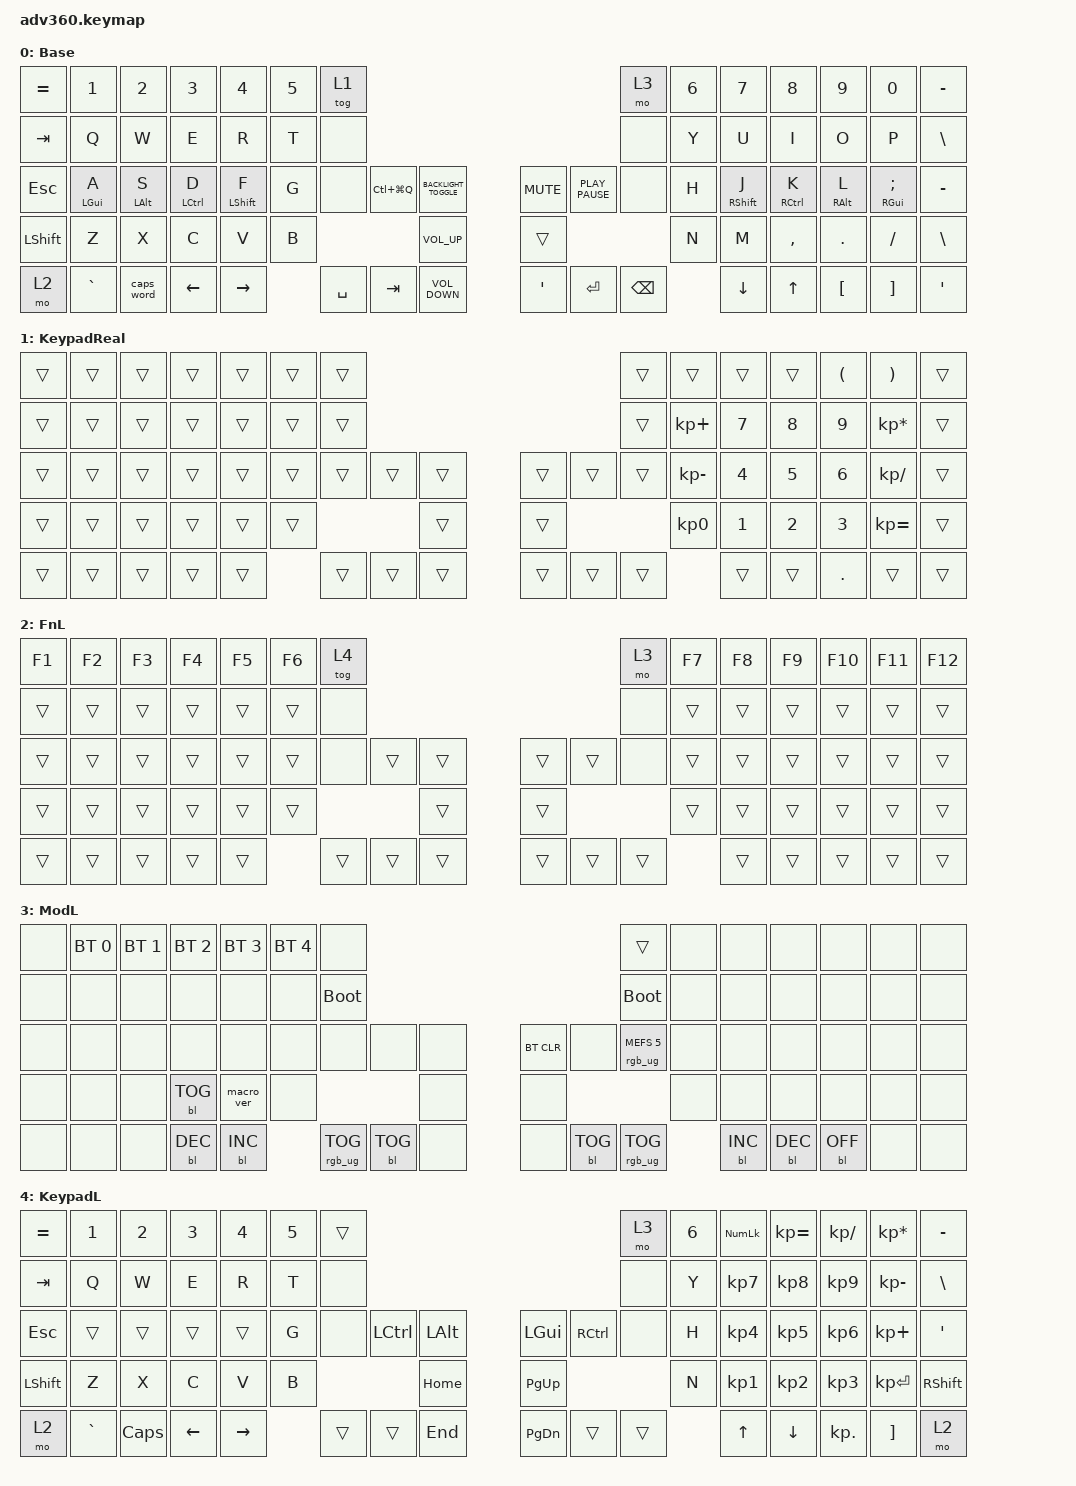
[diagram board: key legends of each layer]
/*
 * Copyright (c) 2020 The ZMK Contributors
 *
 * SPDX-License-Identifier: MIT
 */
/* THIS FILE WAS GENERATED!
 *
 * This file was generated automatically. You may or may not want to
 * edit it directly.
 */

#include <behaviors.dtsi>
#include <dt-bindings/zmk/backlight.h>
#include <dt-bindings/zmk/bt.h>
#include <dt-bindings/zmk/keys.h>
#include <dt-bindings/zmk/rgb.h>

/ {
    behaviors {
        #include "macros.dtsi"
        #include "version.dtsi"
        hm: homerow_mods {
            compatible = "zmk,behavior-hold-tap";
            label = "HOMEROW_MODS";
            #binding-cells = <2>;
            tapping-term-ms = <200>;
            quick_tap_ms = <175>;
            flavor = "tap-preferred";
            bindings = <&kp>, <&kp>;
        };
    };

    keymap {
        compatible = "zmk,keymap";
        default_layer {
            display-name = "Base";
            bindings = <
&kp EQUAL  &kp N1      &kp N2      &kp N3       &kp N4       &kp N5  &tog 1                                                                                  &mo 3          &kp N6  &kp N7       &kp N8       &kp N9      &kp N0         &kp MINUS
&kp TAB    &kp Q       &kp W       &kp E        &kp R        &kp T   &none                                                                                   &none          &kp Y   &kp U        &kp I        &kp O       &kp P          &kp BSLH
&kp ESC    &hm LGUI A  &hm LALT S  &hm LCTRL D  &hm LSHFT F  &kp G   &none      &kp LC(LG(Q))  &kp C_BACKLIGHT_TOGGLE      &kp C_MUTE      &kp K_PLAY_PAUSE  &none          &kp H   &hm RSHFT J  &hm RCTRL K  &hm RALT L  &hm RGUI SEMI  &kp MINUS
&kp LSHFT  &kp Z       &kp X       &kp C        &kp V        &kp B                             &kp C_VOLUME_UP             &trans                                           &kp N   &kp M        &kp COMMA    &kp DOT     &kp FSLH       &kp BACKSLASH
&mo 2      &kp GRAVE   &caps_word  &kp LEFT     &kp RIGHT            &kp SPACE  &kp TAB        &kp C_VOLUME_DOWN           &kp APOSTROPHE  &kp ENTER         &kp BACKSPACE          &kp DOWN     &kp UP       &kp LBKT    &kp RBKT       &kp SQT
            >;
        };

        layer_keypad_real {
            display-name = "KeypadReal";
            bindings = <
&trans  &trans  &trans  &trans  &trans  &trans  &trans                                      &trans  &trans           &trans  &trans  &kp LEFT_PARENTHESIS  &kp RIGHT_PARENTHESIS  &trans
&trans  &trans  &trans  &trans  &trans  &trans  &trans                                      &trans  &kp KP_PLUS      &kp N7  &kp N8  &kp N9                &kp KP_ASTERISK        &trans
&trans  &trans  &trans  &trans  &trans  &trans  &trans  &trans  &trans      &trans  &trans  &trans  &kp KP_SUBTRACT  &kp N4  &kp N5  &kp N6                &kp KP_DIVIDE          &trans
&trans  &trans  &trans  &trans  &trans  &trans                  &trans      &trans                  &kp KP_NUMBER_0  &kp N1  &kp N2  &kp N3                &kp KP_EQUAL           &trans
&trans  &trans  &trans  &trans  &trans          &trans  &trans  &trans      &trans  &trans  &trans                   &trans  &trans  &kp DOT               &trans                 &trans
            >;
        };

        layer_fn {
            display-name = "FnL";
            bindings = <
&kp F1  &kp F2  &kp F3  &kp F4  &kp F5  &kp F6  &tog 4                                      &mo 3   &kp F7  &kp F8  &kp F9  &kp F10  &kp F11  &kp F12
&trans  &trans  &trans  &trans  &trans  &trans  &none                                       &none   &trans  &trans  &trans  &trans   &trans   &trans
&trans  &trans  &trans  &trans  &trans  &trans  &none   &trans  &trans      &trans  &trans  &none   &trans  &trans  &trans  &trans   &trans   &trans
&trans  &trans  &trans  &trans  &trans  &trans                  &trans      &trans                  &trans  &trans  &trans  &trans   &trans   &trans
&trans  &trans  &trans  &trans  &trans          &trans  &trans  &trans      &trans  &trans  &trans          &trans  &trans  &trans   &trans   &trans
            >;
        };

        layer_mod {
            display-name = "ModL";
            bindings = <
&none  &bt BT_SEL 0  &bt BT_SEL 1  &bt BT_SEL 2  &bt BT_SEL 3  &bt BT_SEL 4  &none                                                           &trans                  &none  &none       &none       &none       &none  &none
&none  &none         &none         &none         &none         &none         &bootloader                                                     &bootloader             &none  &none       &none       &none       &none  &none
&none  &none         &none         &none         &none         &none         &none            &none       &none      &bt BT_CLR  &none       &rgb_ug RGB_MEFS_CMD 5  &none  &none       &none       &none       &none  &none
&none  &none         &none         &bl BL_TOG    &macro_ver    &none                                      &none      &none                                           &none  &none       &none       &none       &none  &none
&none  &none         &none         &bl BL_DEC    &bl BL_INC                  &rgb_ug RGB_TOG  &bl BL_TOG  &none      &none       &bl BL_TOG  &rgb_ug RGB_TOG                &bl BL_INC  &bl BL_DEC  &bl BL_OFF  &none  &none
            >;
        };

        layer_keypad {
            display-name = "KeypadL";
            bindings = <
&kp EQUAL  &kp N1     &kp N2    &kp N3    &kp N4     &kp N5  &trans                                                 &mo 3   &kp N6  &kp KP_NUM  &kp KP_EQUAL  &kp KP_DIVIDE  &kp KP_MULTIPLY  &kp MINUS
&kp TAB    &kp Q      &kp W     &kp E     &kp R      &kp T   &none                                                  &none   &kp Y   &kp KP_N7   &kp KP_N8     &kp KP_N9      &kp KP_MINUS     &kp BSLH
&kp ESC    &trans     &trans    &trans    &trans     &kp G   &none   &kp LCTRL  &kp LALT      &kp LGUI   &kp RCTRL  &none   &kp H   &kp KP_N4   &kp KP_N5     &kp KP_N6      &kp KP_PLUS      &kp SQT
&kp LSHFT  &kp Z      &kp X     &kp C     &kp V      &kp B                      &kp HOME      &kp PG_UP                     &kp N   &kp KP_N1   &kp KP_N2     &kp KP_N3      &kp KP_ENTER     &kp RSHFT
&mo 2      &kp GRAVE  &kp CAPS  &kp LEFT  &kp RIGHT          &trans  &trans     &kp END       &kp PG_DN  &trans     &trans          &kp UP      &kp DOWN      &kp KP_DOT     &kp RBKT         &mo 2
            >;
        };
    };
};
